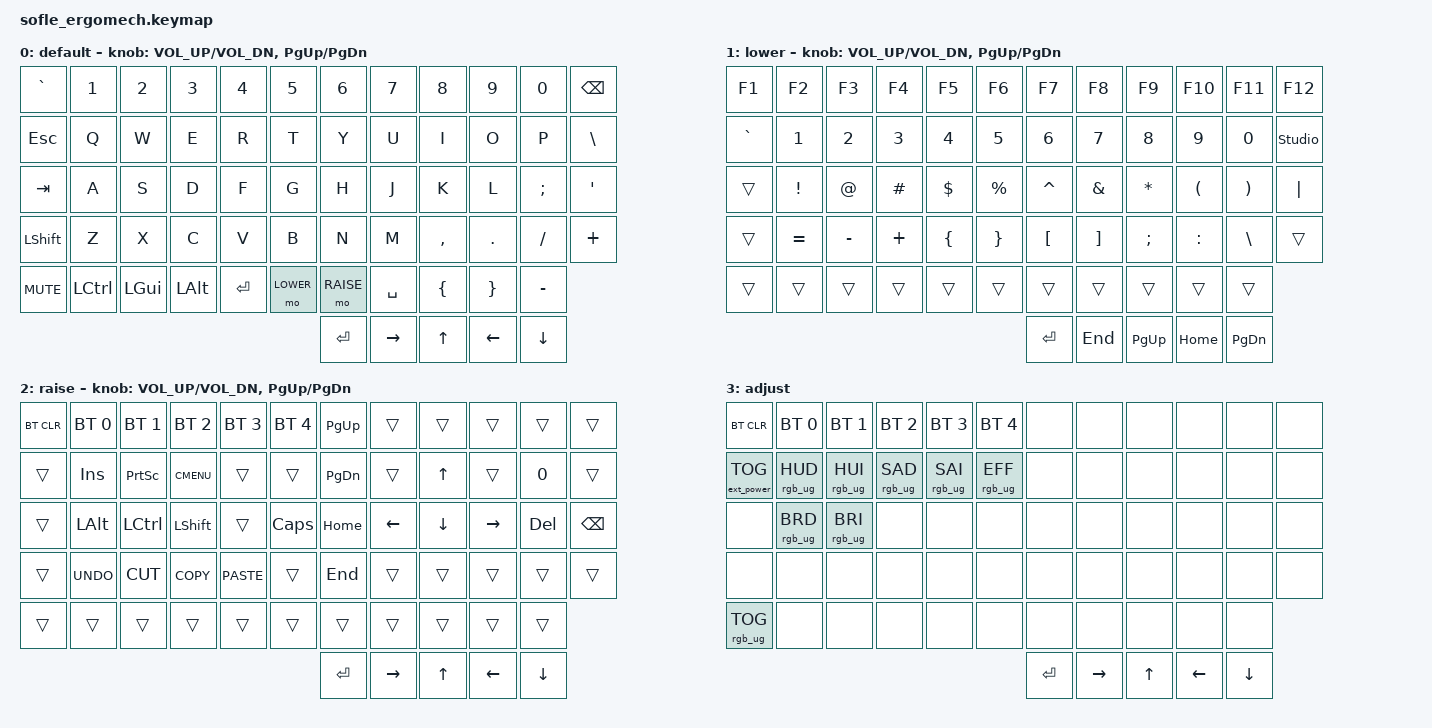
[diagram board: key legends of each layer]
/*
 * Copyright (c) 2020 The ZMK Contributors
 *
 * SPDX-License-Identifier: MIT
 */

#include <behaviors.dtsi>
#include <dt-bindings/zmk/bt.h>
#include <dt-bindings/zmk/ext_power.h>
#include <dt-bindings/zmk/keys.h>
#include <dt-bindings/zmk/rgb.h>

#define BASE 0
#define LOWER 1
#define RAISE 2
#define ADJUST 3

/ {
    // Activate ADJUST layer by pressing raise and lower

    conditional_layers {
        compatible = "zmk,conditional-layers";

        adjust_layer {
            if-layers = <LOWER RAISE>;
            then-layer = <ADJUST>;
        };
    };

    keymap {
        compatible = "zmk,keymap";

        default_layer {
            label = "default";

            // ------------------------------------------------------------------------------------------------------------
            // |   `   |  1  |  2  |  3   |  4   |  5   |                   |  6   |  7    |  8    |  9   |   0   | BKSPC |
            // |  ESC  |  Q  |  W  |  E   |  R   |  T   |                   |  Y   |  U    |  I    |  O   |   P   |   \   |
            // |  TAB  |  A  |  S  |  D   |  F   |  G   |                   |  H   |  J    |  K    |  L   |   ;   |   '   |
            // | SHIFT |  Z  |  X  |  C   |  V   |  B   |  MUTE  |  |       |  N   |  M    |  ,    |  .   |   /   |   +   |
            //               | GUI | ALT  | CTRL | ENTER|  LOWER |  | RAISE | SPACE|  [    |  ]    | -    |

            bindings = <
&kp GRAVE   &kp N1    &kp N2    &kp N3     &kp N4     &kp N5   &kp N6     &kp N7     &kp N8        &kp N9    &kp N0    &kp BSPC
&kp ESC     &kp Q     &kp W     &kp E      &kp R      &kp T    &kp Y      &kp U      &kp I         &kp O     &kp P     &kp BSLH
&kp TAB     &kp A     &kp S     &kp D      &kp F      &kp G    &kp H      &kp J      &kp K         &kp L     &kp SEMI  &kp SQT
&kp LSHFT   &kp Z     &kp X     &kp C      &kp V      &kp B    &kp N      &kp M      &kp COMMA     &kp DOT   &kp FSLH  &kp PLUS
&kp C_MUTE  &kp LCTRL &kp LGUI  &kp LALT   &kp RET  &mo LOWER  &mo RAISE  &kp SPACE  &kp LBRC      &kp RBRC  &kp MINUS
                                                               &kp ENTER  &kp RIGHT  &kp UP_ARROW  &kp LEFT  &kp DOWN
            >;

            sensor-bindings = <&inc_dec_kp C_VOL_UP C_VOL_DN &inc_dec_kp PG_UP PG_DN>;
        };

        lower_layer {
            label = "lower";

            // TODO: Some binds are waiting for shifted keycode support.
            // ------------------------------------------------------------------------------------------------------------
            // |   F1  |  F2 |  F3 |  F4  |  F5  |  F6  |                   |  F7  |  F8   |  F9   |  F10 |  F11  |  F12  |
            // |   `   |  1  |  2  |  3   |  4   |  5   |                   |  6   |  7    |  8    |  9   |   0   | st_ul |
            // |       |  !  |  @  |  #   |  $   |  %   |                   |  ^   |  &    |  *    |  (   |   )   |   |   |
            // |       |  =  |  -  |  +   |  {   |  }   |        |  |       |  [   |  ]    |  ;    |  :   |   \   |       |
            //               |     |      |      |      |        |  |       |      |       |       |      |

            bindings = <
&kp F1     &kp F2     &kp F3     &kp F4    &kp F5    &kp F6     &kp F7     &kp F8    &kp F9     &kp F10    &kp F11   &kp F12
&kp GRAVE  &kp N1     &kp N2     &kp N3    &kp N4    &kp N5     &kp N6     &kp N7    &kp N8     &kp N9     &kp N0    &studio_unlock
&trans     &kp EXCL   &kp AT     &kp HASH  &kp DLLR  &kp PRCNT  &kp CARET  &kp AMPS  &kp ASTRK  &kp LPAR   &kp RPAR  &kp PIPE
&trans     &kp EQUAL  &kp MINUS  &kp PLUS  &kp LBRC  &kp RBRC   &kp LBKT   &kp RBKT  &kp SEMI   &kp COLON  &kp BSLH  &trans
&trans     &trans     &trans     &trans    &trans    &trans     &trans     &trans    &trans     &trans     &trans
                                                                &kp ENTER  &kp END  &kp PG_UP  &kp HOME  &kp PG_DN
            >;

            sensor-bindings = <&inc_dec_kp C_VOL_UP C_VOL_DN &inc_dec_kp PG_UP PG_DN>;
        };

        raise_layer {
            label = "raise";

            // ------------------------------------------------------------------------------------------------------------
            // | BTCLR | BT1  | BT2  |  BT3  |  BT4  |  BT5 |                | PGUP |      |       |      |       |       |
            // |       | INS  | PSCR | GUI   |       |      |                | PGDN |      |   ^   |      |       |       |
            // |       | ALT  | CTRL | SHIFT |       | CAPS |                | HOME |   <- |   v   |  ->  |  DEL  | BKSPC |
            // |       | UNDO | CUT  | COPY  | PASTE |      |      |  |      | END  |      |       |      |       |       |
            //                |      |       |       |      |      |  |      |      |      |       |      |

            bindings = <
&bt BT_CLR  &bt BT_SEL 0  &bt BT_SEL 1  &bt BT_SEL 2  &bt BT_SEL 3  &bt BT_SEL 4  &kp PG_UP &trans    &trans    &trans     &trans   &trans
&trans      &kp INS       &kp PSCRN     &kp K_CMENU   &trans        &trans        &kp PG_DN &trans    &kp UP    &trans     &kp N0   &trans
&trans      &kp LALT      &kp LCTRL     &kp LSHFT     &trans        &kp CLCK      &kp HOME  &kp LEFT  &kp DOWN  &kp RIGHT  &kp DEL  &kp BSPC
&trans      &kp K_UNDO    &kp K_CUT     &kp K_COPY    &kp K_PASTE   &trans        &kp END   &trans    &trans    &trans     &trans   &trans
&trans      &trans        &trans        &trans        &trans        &trans        &trans    &trans    &trans    &trans     &trans
                                                                                  &kp ENTER  &kp RIGHT  &kp UP_ARROW  &kp LEFT  &kp DOWN
            >;

            sensor-bindings = <&inc_dec_kp C_VOL_UP C_VOL_DN &inc_dec_kp PG_UP PG_DN>;
        };

        adjust_layer {
            // ----------------------------------------------------------------------------------------------------------------------------
            // | BTCLR  |  BT1    |  BT2    |   BT3   |   BT4   |   BT5   |                  |      |      |       |      |       |       |
            // | EXTPWR | RGB_HUD | RGB_HUI | RGB_SAD | RGB_SAI | RGB_EFF |                  |      |      |       |      |       |       |
            // |        | RGB_BRD | RGB_BRI |         |         |         |                  |      |      |       |      |       |       |
            // |        |         |         |         |         |         | RGB_TOG | |      |      |      |       |      |       |       |
            //                    |         |         |         |         |         | |      |      |      |       |      |

            label = "adjust";
            bindings = <
&bt BT_CLR         &bt BT_SEL 0     &bt BT_SEL 1     &bt BT_SEL 2     &bt BT_SEL 3     &bt BT_SEL 4     &none  &none  &none  &none  &none  &none
&ext_power EP_TOG  &rgb_ug RGB_HUD  &rgb_ug RGB_HUI  &rgb_ug RGB_SAD  &rgb_ug RGB_SAI  &rgb_ug RGB_EFF  &none  &none  &none  &none  &none  &none
&none              &rgb_ug RGB_BRD  &rgb_ug RGB_BRI  &none            &none            &none            &none  &none  &none  &none  &none  &none
&none              &none            &none            &none            &none            &none            &none  &none  &none  &none  &none  &none
&rgb_ug RGB_TOG    &none            &none            &none            &none            &none            &none  &none  &none  &none  &none
                                                                                                        &kp ENTER  &kp RIGHT  &kp UP_ARROW  &kp LEFT  &kp DOWN
            >;
        };
    };
};
